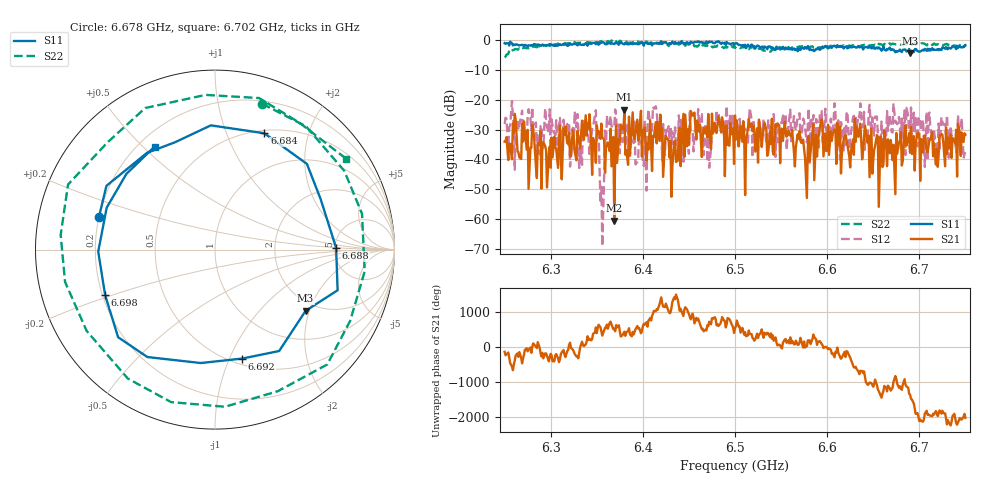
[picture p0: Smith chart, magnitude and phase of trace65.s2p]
# Hz S RI R 50
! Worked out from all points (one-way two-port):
!   401 points, 6.25 GHz to 6.75 GHz, reference 50 ohm
!   highest |S21| = -23.29 dB at 6.38 GHz (marker M1); lowest = -60.5 dB at 6.369 GHz (marker M2)
!   lowest |S11| = -4.3 dB at 6.69 GHz (marker M3), VSWR 4.12, Z = 87 - j94.4 ohm
!   |S11| at or under -10 dB: nowhere
!   |S22| runs from -5.7 to 0.0 dB; largest |S21 - S12| = 0.12
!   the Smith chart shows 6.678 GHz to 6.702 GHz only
!   S11 on the Smith chart (normalised r, x): 6.678 GHz: 0.20, +0.13; 6.684 GHz: 0.53, +1.37; 6.688 GHz: 5.15, +0.17; 6.692 GHz: 0.56, -1.12; 6.698 GHz: 0.21, -0.19; 6.702 GHz: 0.26, +0.54
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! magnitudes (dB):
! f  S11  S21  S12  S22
! 6.25 GHz  -0.9  -34.0  -28.1  -5.7
! 6.334 GHz  -1.5  -27.0  -41.8  -0.8
! 6.35 GHz  -1.1  -28.5  -33.5  -0.5
! 6.356 GHz  -0.5  -32.7  -69.1  -0.5
! 6.361 GHz  -1.3  -35.2  -25.2  -0.6
! 6.369 GHz  -1.2  -60.5  -29.3  -0.3
! 6.38 GHz  -1.3  -23.3  -31.3  -0.5
! 6.401 GHz  -1.8  -30.7  -42.1  -0.5
! 6.418 GHz  -1.2  -33.8  -33.3  -0.8
! 6.434 GHz  -1.2  -34.0  -32.3  -1.5
! 6.454 GHz  -0.8  -25.3  -30.3  -1.3
! 6.5 GHz  -1.1  -25.2  -34.8  -2.5
! 6.584 GHz  -3.3  -30.9  -28.7  -2.0
! 6.668 GHz  -2.4  -37.9  -25.0  -1.0
! 6.678 GHz  -3.5  -34.1  -25.7  -1.4
! 6.684 GHz  -3.0  -30.3  -23.5  -1.4
! 6.688 GHz  -3.4  -33.2  -25.3  -1.1
! 6.69 GHz  -4.3  -37.6  -38.3  -1.2
! 6.692 GHz  -4.1  -38.1  -38.1  -1.4
! 6.698 GHz  -3.6  -31.1  -35.6  -1.1
! 6.702 GHz  -3.5  -33.1  -30.3  -1.0
! 6.75 GHz  -1.6  -31.7  -37.5  -2.2
